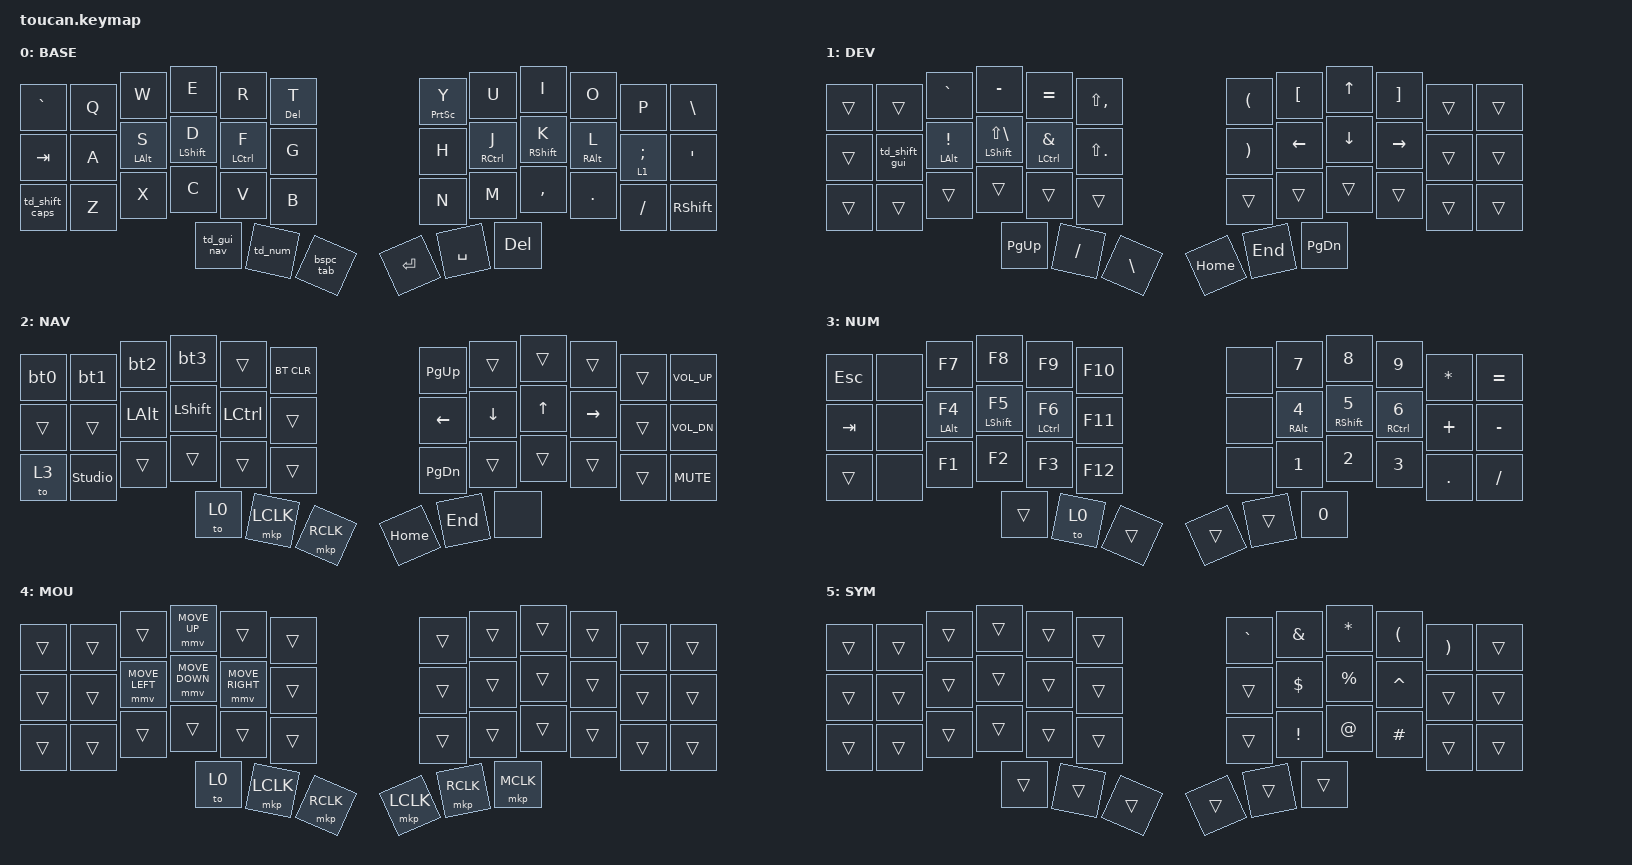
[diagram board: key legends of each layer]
#include <behaviors.dtsi>
#include <dt-bindings/zmk/keys.h>
#include <dt-bindings/zmk/bt.h>
#include <dt-bindings/zmk/outputs.h>
#include <dt-bindings/zmk/pointing.h>

#define BASE 0
#define NAV  1
#define SYM  2
#define ADJ  3

/ {
    behaviors {
        bspc_tab: bspc_tab {
            compatible = "zmk,behavior-mod-morph";
            #binding-cells = <0>;
            bindings = <&kp BSPC>, <&kp TAB>;
            mods = <(MOD_LALT|MOD_RALT|MOD_LCTL|MOD_RCTL)>;
            keep-mods = <(MOD_LALT|MOD_RALT)>;
        };

        mt: mod_tap {
            compatible = "zmk,behavior-hold-tap";
            #binding-cells = <2>;
            flavor = "tap-preferred";
            tapping-term-ms = <280>;
            quick-tap-ms = <175>;
            require-prior-idle-ms = <150>;
            bindings = <&kp>, <&kp>;
        };

        mt_fast: mod_tap_fast {
            compatible = "zmk,behavior-hold-tap";
            #binding-cells = <2>;
            flavor = "tap-preferred";
            tapping-term-ms = <150>;
            quick-tap-ms = <100>;
            require-prior-idle-ms = <0>;
            bindings = <&kp>, <&kp>;
        };

        mt_pos_left: mod_tap_positional_left {
            compatible = "zmk,behavior-hold-tap";
            #binding-cells = <2>;
            flavor = "hold-preferred";
            tapping-term-ms = <280>;
            quick-tap-ms = <175>;
            require-prior-idle-ms = <150>;
            hold-trigger-on-release;
            retro-tap;
            // Left-hand D becomes a hold only when a right-hand key is pressed.
            hold-trigger-key-positions = <6 7 8 9 10 18 19 21 30 31>;
            bindings = <&kp>, <&kp>;
        };

        mt_pos_right: mod_tap_positional_right {
            compatible = "zmk,behavior-hold-tap";
            #binding-cells = <2>;
            flavor = "hold-preferred";
            tapping-term-ms = <280>;
            quick-tap-ms = <175>;
            require-prior-idle-ms = <150>;
            hold-trigger-on-release;
            retro-tap;
            // Right-hand K becomes a hold only when a left-hand key is pressed.
            hold-trigger-key-positions = <1 2 3 4 5 13 14 16 17 25 26 27 28 29>;
            bindings = <&kp>, <&kp>;
        };

        bt0: bt0 {
            compatible = "zmk,behavior-tap-dance";
            #binding-cells = <0>;
            tapping-term-ms = <200>;
            bindings = <&bt0_sel>, <&bt0_clr>;
        };

        bt1: bt1 {
            compatible = "zmk,behavior-tap-dance";
            #binding-cells = <0>;
            tapping-term-ms = <200>;
            bindings = <&bt1_sel>, <&bt1_clr>;
        };

        bt2: bt2 {
            compatible = "zmk,behavior-tap-dance";
            #binding-cells = <0>;
            tapping-term-ms = <200>;
            bindings = <&bt2_sel>, <&bt2_clr>;
        };

        bt3: bt3 {
            compatible = "zmk,behavior-tap-dance";
            #binding-cells = <0>;
            tapping-term-ms = <200>;
            bindings = <&bt3_sel>, <&bt3_clr>;
        };

        td_shift_caps: td_shift_caps {
            compatible = "zmk,behavior-tap-dance";
            #binding-cells = <0>;
            tapping-term-ms = <200>;
            bindings = <&kp LSHFT>, <&kp CAPS>;
        };

        td_shift_gui: td_shift_gui {
            compatible = "zmk,behavior-tap-dance";
            #binding-cells = <0>;
            tapping-term-ms = <200>;
            bindings = <&kp LSHFT>, <&kp LGUI>;
        };

        td_num: td_num {
            compatible = "zmk,behavior-tap-dance";
            #binding-cells = <0>;
            tapping-term-ms = <200>;
            bindings = <&mo 3>, <&to 3>;
        };

        sk_quick: sticky_key_quick_release {
            compatible = "zmk,behavior-sticky-key";
            #binding-cells = <1>;
            bindings = <&kp>;
            release-after-ms = <1000>;
            quick-release;
        };

        mt_gui_sk: mod_tap_gui_sticky_shift {
            compatible = "zmk,behavior-hold-tap";
            #binding-cells = <2>;
            flavor = "tap-preferred";
            tapping-term-ms = <100>;
            quick-tap-ms = <175>;
            require-prior-idle-ms = <0>;
            bindings = <&kp>, <&sk_quick>;
        };

        td_gui_nav: td_gui_nav {
            compatible = "zmk,behavior-tap-dance";
            #binding-cells = <0>;
            tapping-term-ms = <200>;
            bindings = <&mt_gui_sk LGUI LSHFT>, <&to 2>;
        };
    };

    macros {
        bt0_sel: bt0_sel {
            compatible = "zmk,behavior-macro";
            #binding-cells = <0>;
            bindings = <&bt BT_SEL 0>;
        };

        bt0_clr: bt0_clr {
            compatible = "zmk,behavior-macro";
            #binding-cells = <0>;
            bindings = <&bt BT_SEL 0>, <&bt BT_CLR>;
        };

        bt1_sel: bt1_sel {
            compatible = "zmk,behavior-macro";
            #binding-cells = <0>;
            bindings = <&bt BT_SEL 1>;
        };

        bt1_clr: bt1_clr {
            compatible = "zmk,behavior-macro";
            #binding-cells = <0>;
            bindings = <&bt BT_SEL 1>, <&bt BT_CLR>;
        };

        bt2_sel: bt2_sel {
            compatible = "zmk,behavior-macro";
            #binding-cells = <0>;
            bindings = <&bt BT_SEL 2>;
        };

        bt2_clr: bt2_clr {
            compatible = "zmk,behavior-macro";
            #binding-cells = <0>;
            bindings = <&bt BT_SEL 2>, <&bt BT_CLR>;
        };

        bt3_sel: bt3_sel {
            compatible = "zmk,behavior-macro";
            #binding-cells = <0>;
            bindings = <&bt BT_SEL 3>;
        };

        bt3_clr: bt3_clr {
            compatible = "zmk,behavior-macro";
            #binding-cells = <0>;
            bindings = <&bt BT_SEL 3>, <&bt BT_CLR>;
        };

        d_space: d_space {
            compatible = "zmk,behavior-macro";
            #binding-cells = <0>;
            bindings = <&kp D>, <&kp SPACE>;
        };

        k_space: k_space {
            compatible = "zmk,behavior-macro";
            #binding-cells = <0>;
            bindings = <&kp K>, <&kp SPACE>;
        };
    };

    // Combos use key-positions = 0-based slot index in each layer's bindings (same order as
    // boards/shields/toucan/toucan.dtsi default_transform). BASE row 2: 14 S, 15 D, ... 19 J, 20 K, 21 L.
    // Row 3: 24 caps, 25 Z, 26 X, 27 C, ...
    combos {
        compatible = "zmk,combos";

        // Press both home-row Shift keys (D + K) to enable Caps Word.
        combo_dk_caps_word {
            timeout-ms = <50>;
            key-positions = <15 20>;
            bindings = <&caps_word>;
            layers = <BASE>;
        };

        combo_d_space {
            timeout-ms = <280>;
            key-positions = <15 40>;
            bindings = <&d_space>;
            layers = <BASE>;
        };

        combo_k_space {
            timeout-ms = <280>;
            key-positions = <20 40>;
            bindings = <&k_space>;
            layers = <BASE>;
        };

        combo_we_slash {
            timeout-ms = <50>;
            key-positions = <2 3>;
            bindings = <&kp FSLH>;
            layers = <BASE>;
        };

        combo_er_backslash {
            timeout-ms = <50>;
            key-positions = <3 4>;
            bindings = <&kp BSLH>;
            layers = <BASE>;
        };

        // Hold I and O together to enable the mouse movement layer.
        combo_io_mouse {
            timeout-ms = <50>;
            key-positions = <8 9>;
            bindings = <&mo 4>;
            layers = <BASE>;
        };

//        combo_sd_tab {
//            timeout-ms = <50>;
//            key-positions = <14 15>;
//            bindings = <&kp TAB>;
//            layers = <0>;
//        };

//        combo_jk_fslh {
//            timeout-ms = <50>;
//            key-positions = <19 20>;
//            bindings = <&kp FSLH>;
//            layers = <0>;
//        };

//        combo_kl_bslh {
//            timeout-ms = <50>;
//            key-positions = <20 21>;
//            bindings = <&kp BSLH>;
//            layers = <0>;
//        };

        combo_xc_copy {
            timeout-ms = <50>;
            key-positions = <26 27>;
            bindings = <&kp LC(C)>;
            layers = <0>;
        };

        combo_cv_paste {
            timeout-ms = <50>;
            key-positions = <27 28>;
            bindings = <&kp LC(V)>;
            layers = <0>;
        };

        combo_xv_cut {
            timeout-ms = <50>;
            key-positions = <26 28>;
            bindings = <&kp LC(X)>;
            layers = <0>;
        };

        combo_ui_esc {
            timeout-ms = <50>;
            key-positions = <7 8>;
            bindings = <&kp ESC>;
            layers = <0>;
        };

    };

    keymap {
        compatible = "zmk,keymap";

        layer_0 {
            display-name = "BASE";
            bindings = <
                &kp GRAVE     &kp Q                  &kp W                  &kp E                  &kp R                  &mt DEL T                &mt PSCRN Y            &kp U                  &kp I                  &kp O                  &kp P                 &kp BSLH
                &kp TAB                &kp A                  &mt LALT S             &mt_pos_left LSHFT D   &mt LCTRL F            &kp G                    &kp H                  &mt RCTRL J            &mt_pos_right RSHFT K   &mt RALT L             &lt 1 SEMI            &kp SQT
                &td_shift_caps         &kp Z                  &kp X                  &kp C                  &kp V                  &kp B                    &kp N                  &kp M                  &kp COMMA              &kp DOT                &kp FSLH              &kp RSHFT
                &td_gui_nav            &td_num                &bspc_tab              &kp RET                &kp SPACE              &kp DEL
            >;
        };

        layer_1 {
            display-name = "DEV";
            bindings = <
                &trans                 &trans                 &kp GRAVE              &kp MINUS              &kp EQUAL              &kp LS(COMMA)            &kp LPAR               &kp LBKT               &kp UP                 &kp RBKT               &trans                 &trans
                &trans                 &td_shift_gui          &mt LALT EXCL          &mt LSHFT LS(BSLH)     &mt LCTRL AMPS         &kp LS(DOT)              &kp RPAR               &kp LEFT               &kp DOWN               &kp RIGHT              &trans                 &trans
                &trans                 &trans                 &trans                 &trans                 &trans                 &trans                   &trans                 &trans                 &trans                 &trans                 &trans                 &trans
                &kp PG_UP              &kp FSLH               &kp BSLH               &kp HOME               &kp END                &kp PG_DN
            >;
        };

        layer_2 {
            display-name = "NAV";
            bindings = <
                &bt0                   &bt1                   &bt2                   &bt3                   &trans                 &bt BT_CLR               &kp PG_UP              &trans                 &trans                 &trans                 &trans                 &kp C_VOL_UP
                &trans                 &trans                 &kp LALT               &kp LSHFT              &kp LCTRL              &trans                   &kp LEFT               &kp DOWN               &kp UP                 &kp RIGHT              &trans                 &kp C_VOL_DN
                &to 3                  &studio_unlock         &trans                 &trans                 &trans                 &trans                   &kp PG_DN              &trans                 &trans                 &trans                 &trans                 &kp C_MUTE
                &to 0                  &mkp LCLK              &mkp RCLK              &kp HOME               &kp END                &none
            >;
        };

        layer_3 {
            display-name = "NUM";
            bindings = <
                &kp ESC                &none                 &kp F7                 &kp F8                 &kp F9                 &kp F10                  &none               &kp N7                 &kp N8                 &kp N9                 &kp STAR               &kp EQUAL
                &kp TAB                &none                 &mt LALT F4            &mt LSHFT F5           &mt LCTRL F6           &kp F11                  &none               &mt RALT N4            &mt RSHFT N5           &mt RCTRL N6           &kp PLUS                &kp MINUS
                &trans                 &none                 &kp F1                 &kp F2                 &kp F3                 &kp F12                  &none               &kp N1                 &kp N2                 &kp N3                 &kp DOT                &kp FSLH
                &trans                 &to 0                  &trans                 &trans                 &trans                 &kp N0
            >;
        };

        mouse {
            display-name = "MOU";
            bindings = <
                &trans &trans &trans &mmv MOVE_UP &trans &trans     &trans &trans &trans &trans &trans &trans
                &trans &trans &mmv MOVE_LEFT &mmv MOVE_DOWN &mmv MOVE_RIGHT &trans &trans &trans &trans &trans &trans &trans
                &trans &trans &trans &trans &trans &trans           &trans &trans &trans &trans &trans &trans
                            &to 0    &mkp LCLK &mkp RCLK           &mkp LCLK &mkp RCLK &mkp MCLK
            >;
        };

        layer_5 {
            display-name = "SYM";
            bindings = <
                &trans                 &trans                 &trans                 &trans                 &trans                 &trans                   &kp GRAVE              &kp AMPS               &kp STAR               &kp LPAR               &kp RPAR                 &trans
                &trans                 &trans                 &trans                 &trans                 &trans                 &trans                   &trans                 &kp DLLR               &kp PRCNT              &kp CARET              &trans                 &trans
                &trans                 &trans                 &trans                 &trans                 &trans                 &trans                   &trans                 &kp EXCL               &kp AT                 &kp HASH               &trans                 &trans
                &trans                 &trans                 &trans                   &trans                 &trans                 &trans
            >;
        };
    };
};
